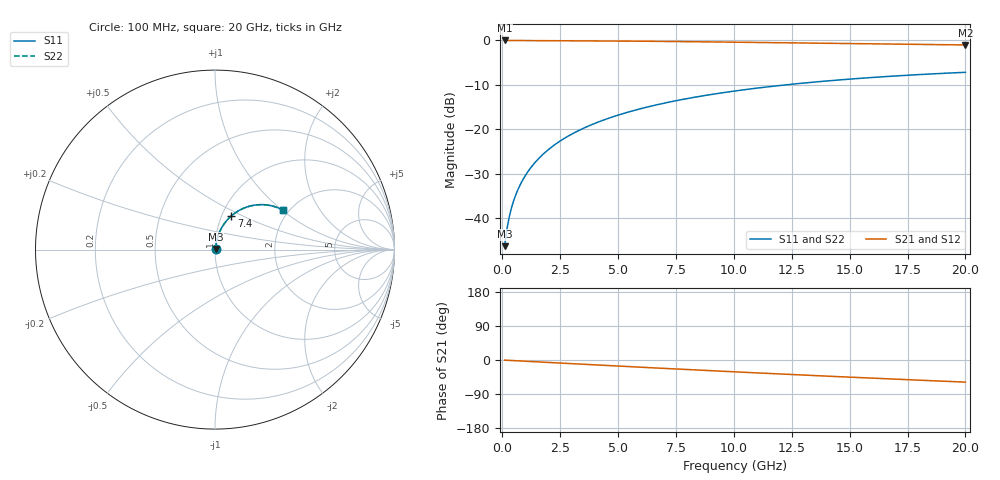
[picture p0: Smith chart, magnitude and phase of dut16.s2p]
! Touchstone file exported from HFSS 2026.1.0
!  File:  C:/ffzhzh/LocalFiles/Ansys_Project_Files/temp_test_BSMRDL_16_1782907427_42304.aedt
!  Generated:  08:05:14 PM Jul  1, 2026
!  Design:  BSMRDL
!  Project:  temp_test_BSMRDL_16_1782907427_42304
! Variables:
!  h_bsmrdl = 3.36um
!  h_ox = 20um
!  h_rdl = 5um
!  h_sub = 80um
!  h_tmrdl = 5um
!  h_tsv = 80um
!  h_via = 3um
!  l_bsmrdl = 922.69um
!  l_sub = 1322.69um
!  l_tmrdl = 200um
!  m_sub = 200um
!  pitch = 56.32um
!  r_tsv = 6um
!  s_tmrdl = 10um
!  w_bsmrdl = 29.76um
!  w_sub = 500um
!  w_tmrdl = 12um
!  x_tsv_center1 = 206um
!  x_tsv_center2 = 1158.45um
!  x_tsv_center3 = 1370.45um
!  x_tsv_center4 = 2322.9um
!  x_tsv_center5 = 2534.9um
!  x_tsv_center6 = 3487.35um
# GHz S MA R 50.000000
! Terminal data exported
! Port[1] = BSM_RDL1_1_T1
! Port[2] = BSM_RDL1_1_T2
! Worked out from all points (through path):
!   200 points, 100 MHz to 20 GHz, reference 50 ohm
!   highest |S21| = -0.03 dB at 100 MHz (marker M1); lowest = -1.0 dB at 20 GHz (marker M2)
!   group delay of S21, straight-line fit = 8.12 ps
!   lowest |S11| = -46.2 dB at 100 MHz (marker M3), VSWR 1.01, Z = 50.4 + j0.337 ohm
!   |S11| at or under -10 dB: start of sweep to 12.24 GHz
!   |S22| runs from -46.2 to -7.2 dB; largest |S21 - S12| = 5.1e-15
!   S11 on the Smith chart (normalised r, x): 100 MHz: 1.01, +0.01; 7.4 GHz: 1.11, +0.43; 20 GHz: 1.86, +1.01
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0.1  0.004888 43.2  0.9965 -0.3  0.9965 -0.3  0.004888 43.2
! Gamma 0 0 0 0
! Port Impedance 50 0 50 0
0.2  0.007588 59.2  0.9962 -0.7  0.9962 -0.7  0.007588 59.2
0.3  0.01042 66.0  0.9959 -1.0  0.9959 -1.0  0.01042 66.0
0.4  0.01325 69.9  0.9957 -1.3  0.9957 -1.3  0.01325 69.9
0.5  0.01609 72.5  0.9955 -1.7  0.9955 -1.7  0.01609 72.5
0.6  0.01894 74.3  0.9953 -2.0  0.9953 -2.0  0.01894 74.3
0.8  0.02468 76.5  0.9951 -2.6  0.9951 -2.6  0.02468 76.5
1.1  0.03337 78.2  0.9947 -3.6  0.9947 -3.6  0.03337 78.2
1.3  0.0392 78.7  0.9944 -4.2  0.9944 -4.2  0.0392 78.7
1.6  0.04795 78.9  0.9939 -5.2  0.9939 -5.2  0.04795 78.9
2.1  0.06253 78.5  0.9929 -6.8  0.9929 -6.8  0.06253 78.4
2.7  0.07992 77.4  0.9913 -8.7  0.9913 -8.7  0.07992 77.3
3.5  0.1028 75.4  0.9888 -11.3  0.9888 -11.3  0.1028 75.4
4.2  0.1225 73.5  0.9861 -13.5  0.9861 -13.5  0.1225 73.5
5  0.1446 71.3  0.9826 -16.0  0.9826 -16.0  0.1446 71.2
6.8  0.1921 66.0  0.9733 -21.6  0.9733 -21.6  0.1921 66.0
7.4  0.2073 64.3  0.9698 -23.4  0.9698 -23.4  0.2073 64.3
8.7  0.239 60.5  0.9618 -27.3  0.9618 -27.3  0.239 60.5
10.1  0.2711 56.5  0.9526 -31.4  0.9526 -31.4  0.2711 56.5
13.4  0.3385 47.4  0.9299 -40.9  0.9299 -40.9  0.3385 47.3
16.7  0.3939 38.6  0.9075 -49.8  0.9075 -49.8  0.3939 38.5
20  0.4375 30.2  0.8874 -58.4  0.8874 -58.4  0.4375 30.1
